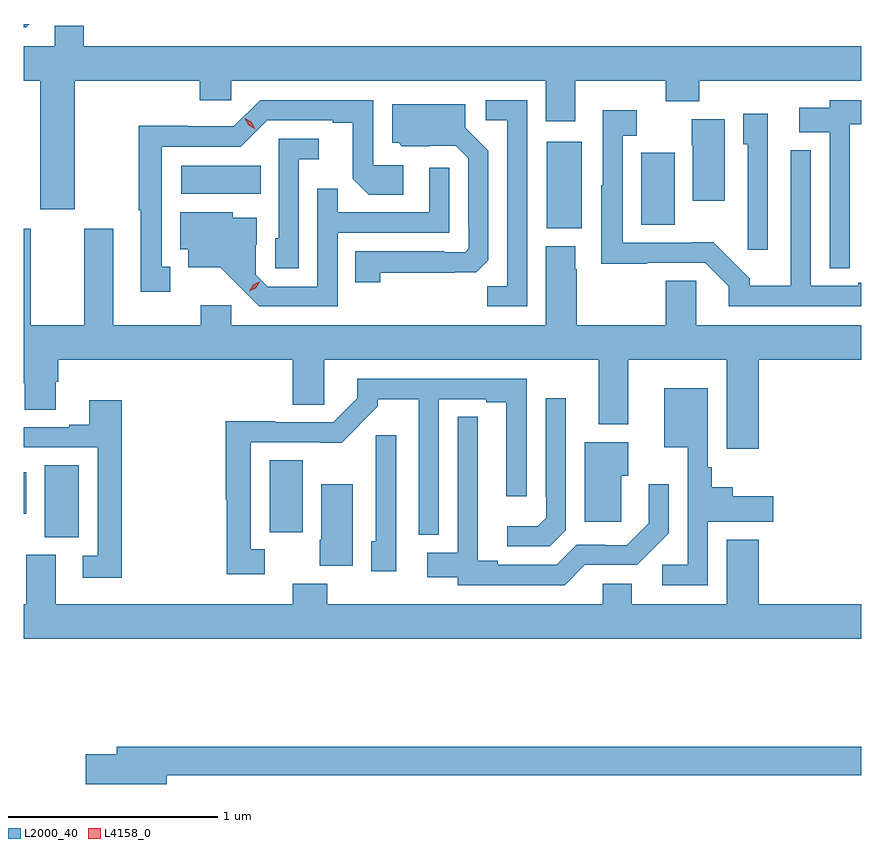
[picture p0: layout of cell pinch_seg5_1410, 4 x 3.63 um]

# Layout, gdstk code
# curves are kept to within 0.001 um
import gdstk
lib = gdstk.Library(unit=1e-6, precision=1e-09)
def R(c, l, rs):  # rectangles x0, y0, x1, y1
    for r in rs: c.add(gdstk.rectangle(r[:2], r[2:], *l))
def P(c, l, *ps):  # polygons
    for p in ps: c.add(gdstk.Polygon(p, *l))
L2000_40 = (2000, 40)
L4158_0 = (4158, 0)

pinch_seg5_1410 = lib.new_cell('pinch_seg5_1410')
R(pinch_seg5_1410, L2000_40, [(158.258,878.557,158.422,878.9), (159.332,878.58,159.49,878.924), (158.158,878.669,158.17,878.866), (160.655,880.031,160.822,880.444), (161.108,880.048,161.266,880.393), (158.91,880.196,159.29,880.33)])
P(pinch_seg5_1410, L2000_40, [(158.185,881.007),(158.158,881.007),(158.158,880.992),(158.17,880.992)],
  [(158.401,880.736),(158.999,880.736),(158.999,880.643),(159.15,880.643),(159.15,880.736),(160.652,880.736),(160.652,880.542),(160.792,880.542),(160.792,880.736),(161.224,880.736),(161.224,880.637),(161.384,880.637),(161.384,880.736),(162.158,880.736),(162.158,880.9),(158.446,880.9),(158.446,880.998),(158.307,880.998),(158.307,880.9),(158.158,880.9),(158.158,880.736),(158.237,880.736),(158.237,880.122),(158.401,880.122)],
  [(158.857,879.849),(158.818,879.849),(158.818,880.422),(159.195,880.422),(159.321,880.548),(159.635,880.548),(159.635,880.536),(159.729,880.536),(159.729,880.268),(159.805,880.192),(159.97,880.192),(159.97,880.332),(159.828,880.332),(159.828,880.644),(159.288,880.644),(159.162,880.518),(158.94,880.518),(158.94,880.52),(158.707,880.52),(158.707,880.117),(158.717,880.117),(158.717,879.729),(158.857,879.729)],
  [(162.102,879.949),(162.103,879.949),(162.103,880.528),(162.158,880.528),(162.158,880.644),(162.006,880.644),(162.006,880.606),(161.862,880.606),(161.862,880.49),(162.006,880.49),(162.006,879.841),(162.102,879.841)],
  [(160.563,880.644),(160.365,880.644),(160.365,880.548),(160.467,880.548),(160.467,879.755),(160.372,879.755),(160.372,879.66),(160.563,879.66)],
  [(159.861,879.82),(160.318,879.821),(160.377,879.88),(160.377,880.402),(160.267,880.512),(160.267,880.624),(159.917,880.624),(159.917,880.44),(159.948,880.44),(159.964,880.424),(160.221,880.425),(160.281,880.365),(160.281,880.036),(160.284,880.036),(160.284,879.936),(160.266,879.918),(160.166,879.918),(160.166,879.921),(159.742,879.921),(159.742,879.774),(159.861,879.774)],
  [(162.158,879.771),(162.143,879.771),(162.143,879.756),(161.916,879.756),(161.916,880.405),(161.82,880.405),(161.82,879.757),(161.626,879.757),(161.626,879.791),(161.452,879.965),(161.351,879.965),(161.351,879.963),(161.019,879.963),(161.019,880.473),(161.086,880.473),(161.086,880.594),(160.923,880.594),(160.923,880.236),(160.916,880.236),(160.916,879.862),(161.135,879.862),(161.135,879.867),(161.412,879.867),(161.526,879.754),(161.526,879.66),(162.158,879.66)],
  [(161.712,880.579),(161.594,880.579),(161.594,880.434),(161.616,880.434),(161.616,879.93),(161.712,879.93)],
  [(161.506,880.552),(161.348,880.552),(161.348,880.428),(161.354,880.428),(161.354,880.164),(161.506,880.164)],
  [(159.471,880.361),(159.568,880.361),(159.568,880.458),(159.375,880.458),(159.375,879.984),(159.36,879.984),(159.36,879.841),(159.471,879.841)],
  [(159.657,880.011),(160.191,880.011),(160.191,880.321),(160.095,880.321),(160.095,880.107),(159.659,880.107),(159.659,880.22),(159.561,880.22),(159.561,879.753),(159.324,879.753),(159.267,879.81),(159.267,879.952),(159.271,879.952),(159.271,880.081),(159.156,880.081),(159.156,880.108),(158.906,880.108),(158.906,879.932),(158.945,879.932),(158.945,879.845),(159.097,879.845),(159.284,879.66),(159.657,879.66)],
  [(161.669,879.404),(162.158,879.404),(162.158,879.568),(161.37,879.568),(161.37,879.782),(161.224,879.782),(161.224,879.568),(160.8,879.568),(160.8,879.836),(160.792,879.836),(160.792,879.946),(160.652,879.946),(160.652,879.568),(159.15,879.568),(159.15,879.664),(159.004,879.664),(159.004,879.568),(158.587,879.568),(158.587,880.03),(158.447,880.03),(158.447,879.568),(158.191,879.568),(158.191,880.03),(158.158,880.03),(158.158,879.404),(158.159,879.404),(158.159,879.291),(158.164,879.291),(158.164,879.166),(158.311,879.166),(158.311,879.298),(158.324,879.298),(158.324,879.404),(159.443,879.404),(159.443,879.19),(159.594,879.19),(159.594,879.404),(160.904,879.404),(160.904,879.095),(161.044,879.095),(161.044,879.404),(161.516,879.404),(161.516,878.979),(161.669,878.979)],
  [(159.31,878.499),(159.243,878.499),(159.243,879.009),(159.676,879.008),(159.85,879.181),(159.85,879.215),(160.044,879.215),(160.044,878.567),(160.14,878.567),(160.14,879.216),(160.367,879.216),(160.367,879.201),(160.463,879.201),(160.463,878.751),(160.56,878.751),(160.56,879.312),(159.75,879.312),(159.75,879.219),(159.636,879.105),(159.359,879.105),(159.359,879.11),(159.123,879.11),(159.123,878.736),(159.127,878.736),(159.127,878.379),(159.31,878.379)],
  [(161.424,878.63),(161.737,878.63),(161.737,878.752),(161.545,878.752),(161.545,878.794),(161.444,878.794),(161.444,878.89),(161.424,878.89),(161.424,879.268),(161.216,879.268),(161.216,878.987),(161.328,878.987),(161.328,878.424),(161.208,878.424),(161.208,878.328),(161.424,878.328)],
  [(160.746,878.589),(160.746,879.22),(160.65,879.22),(160.65,878.749),(160.653,878.749),(160.653,878.649),(160.613,878.609),(160.467,878.609),(160.467,878.514),(160.671,878.514)],
  [(158.627,879.211),(158.471,879.211),(158.471,879.094),(158.375,879.094),(158.375,879.081),(158.158,879.081),(158.158,878.985),(158.511,878.985),(158.511,878.469),(158.439,878.469),(158.439,878.364),(158.627,878.364)],
  [(160.837,878.424),(161.088,878.424),(161.238,878.576),(161.238,878.809),(161.144,878.809),(161.144,878.624),(161.038,878.518),(160.936,878.518),(160.936,878.52),(160.8,878.52),(160.704,878.424),(160.423,878.424),(160.423,878.444),(160.327,878.444),(160.326,879.131),(160.23,879.131),(160.23,878.482),(160.086,878.482),(160.086,878.366),(160.23,878.366),(160.23,878.328),(160.741,878.328)],
  [(159.936,879.043),(159.84,879.043),(159.84,878.538),(159.818,878.538),(159.818,878.394),(159.936,878.394)],
  [(161.011,878.849),(161.044,878.849),(161.044,879.01),(160.838,879.01),(160.838,878.631),(161.011,878.631)],
  [(159.73,878.809),(159.578,878.809),(159.578,878.544),(159.572,878.544),(159.572,878.42),(159.73,878.42)],
  [(162.158,878.236),(161.669,878.236),(161.669,878.545),(161.516,878.545),(161.516,878.236),(161.062,878.236),(161.062,878.335),(160.922,878.335),(160.922,878.236),(159.608,878.236),(159.608,878.335),(159.443,878.335),(159.443,878.236),(158.311,878.236),(158.311,878.472),(158.171,878.472),(158.171,878.236),(158.158,878.236),(158.158,878.072),(162.158,878.072)],
  [(158.842,877.42),(162.158,877.42),(162.158,877.556),(158.603,877.556),(158.603,877.52),(158.454,877.52),(158.454,877.378),(158.842,877.378)])
P(pinch_seg5_1410, L4158_0, [(159.236,879.731),(159.236,879.731),(159.254,879.761),(159.284,879.776),(159.285,879.776),(159.285,879.776),(159.267,879.746),(159.236,879.731)],
  [(159.264,880.504),(159.232,880.523),(159.214,880.556),(159.214,880.556),(159.215,880.556),(159.246,880.537),(159.264,880.505),(159.264,880.504)])

lib.write_gds('pinch_seg5_1410.gds')
